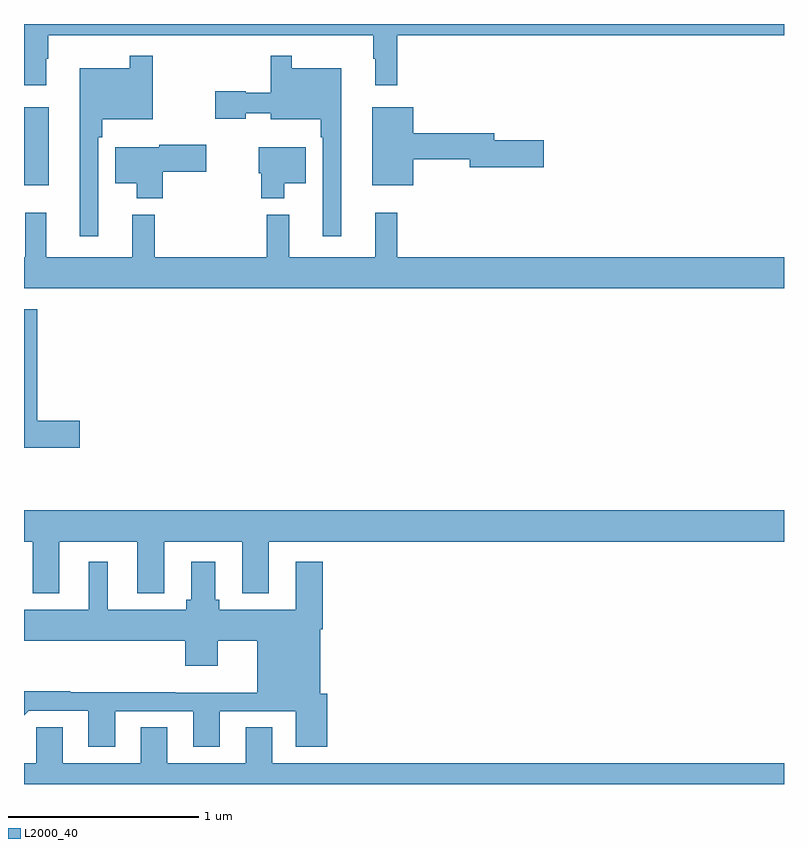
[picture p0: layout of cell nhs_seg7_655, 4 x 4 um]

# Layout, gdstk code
import gdstk
lib = gdstk.Library(unit=1e-6, precision=1e-09)
def R(c, l, rs):  # rectangles x0, y0, x1, y1
    for r in rs: c.add(gdstk.rectangle(r[:2], r[2:], *l))
def P(c, l, *ps):  # polygons
    for p in ps: c.add(gdstk.Polygon(p, *l))
L2000_40 = (2000, 40)

nhs_seg7_655 = lib.new_cell('nhs_seg7_655')
R(nhs_seg7_655, L2000_40, [(161,1009.151,161.131,1009.561)])
P(nhs_seg7_655, L2000_40, [(161.116,1009.817),(161.128,1009.817),(161.128,1009.94),(162.837,1009.94),(162.837,1009.817),(162.848,1009.817),(162.848,1009.677),(162.965,1009.677),(162.965,1009.94),(165,1009.94),(165,1010),(161,1010),(161,1009.677),(161.116,1009.677)],
  [(162.67,1009.768),(162.409,1009.768),(162.409,1009.834),(162.299,1009.834),(162.299,1009.639),(162.168,1009.639),(162.168,1009.647),(162.006,1009.647),(162.006,1009.502),(162.168,1009.502),(162.168,1009.529),(162.299,1009.529),(162.299,1009.499),(162.561,1009.499),(162.561,1009.403),(162.573,1009.403),(162.573,1008.882),(162.67,1008.882)],
  [(161.391,1009.403),(161.411,1009.403),(161.411,1009.499),(161.677,1009.499),(161.677,1009.834),(161.556,1009.834),(161.556,1009.768),(161.294,1009.768),(161.294,1008.882),(161.391,1008.882)],
  [(163.048,1009.288),(163.346,1009.288),(163.346,1009.246),(163.735,1009.246),(163.735,1009.388),(163.474,1009.388),(163.474,1009.424),(163.048,1009.424),(163.048,1009.561),(162.833,1009.561),(162.833,1009.151),(163.048,1009.151)],
  [(161.729,1009.222),(161.959,1009.222),(161.959,1009.364),(161.712,1009.364),(161.712,1009.351),(161.48,1009.351),(161.48,1009.163),(161.594,1009.163),(161.594,1009.082),(161.729,1009.082)],
  [(162.37,1009.163),(162.484,1009.163),(162.484,1009.351),(162.236,1009.351),(162.236,1009.215),(162.248,1009.215),(162.248,1009.082),(162.37,1009.082)],
  [(165,1008.772),(162.965,1008.772),(162.965,1009.006),(162.848,1009.006),(162.848,1008.772),(162.395,1008.772),(162.395,1008.997),(162.277,1008.997),(162.277,1008.772),(161.687,1008.772),(161.687,1008.997),(161.57,1008.997),(161.57,1008.772),(161.117,1008.772),(161.117,1009.006),(161.007,1009.006),(161.007,1008.772),(161,1008.772),(161,1008.608),(165,1008.608)],
  [(161.293,1007.912),(161.069,1007.912),(161.069,1008.498),(161,1008.498),(161,1007.77),(161.293,1007.77)],
  [(161.185,1007.276),(161.597,1007.276),(161.597,1007.003),(161.737,1007.003),(161.737,1007.276),(162.149,1007.276),(162.149,1007.003),(162.289,1007.003),(162.289,1007.276),(165,1007.276),(165,1007.44),(161,1007.44),(161,1007.276),(161.045,1007.276),(161.045,1007.003),(161.185,1007.003)],
  [(161.479,1006.383),(161.891,1006.383),(161.891,1006.197),(162.031,1006.197),(162.031,1006.383),(162.431,1006.383),(162.431,1006.197),(162.596,1006.197),(162.596,1006.476),(162.559,1006.476),(162.559,1006.814),(162.572,1006.814),(162.572,1007.17),(162.431,1007.17),(162.431,1006.918),(162.027,1006.918),(162.027,1006.971),(162.007,1006.971),(162.007,1007.17),(161.879,1007.17),(161.879,1006.971),(161.854,1006.971),(161.854,1006.918),(161.44,1006.918),(161.44,1007.17),(161.342,1007.17),(161.342,1006.918),(161,1006.918),(161,1006.754),(161.849,1006.754),(161.849,1006.623),(162.019,1006.623),(162.019,1006.754),(162.227,1006.754),(162.227,1006.48),(161.795,1006.48),(161.795,1006.484),(161.243,1006.484),(161.243,1006.487),(161,1006.487),(161,1006.361),(161.025,1006.386),(161.339,1006.386),(161.339,1006.197),(161.479,1006.197)],
  [(165,1006.108),(162.307,1006.108),(162.307,1006.298),(162.167,1006.298),(162.167,1006.108),(161.755,1006.108),(161.755,1006.298),(161.615,1006.298),(161.615,1006.108),(161.203,1006.108),(161.203,1006.298),(161.064,1006.298),(161.064,1006.108),(161,1006.108),(161,1006),(165,1006)])

lib.write_gds('nhs_seg7_655.gds')
